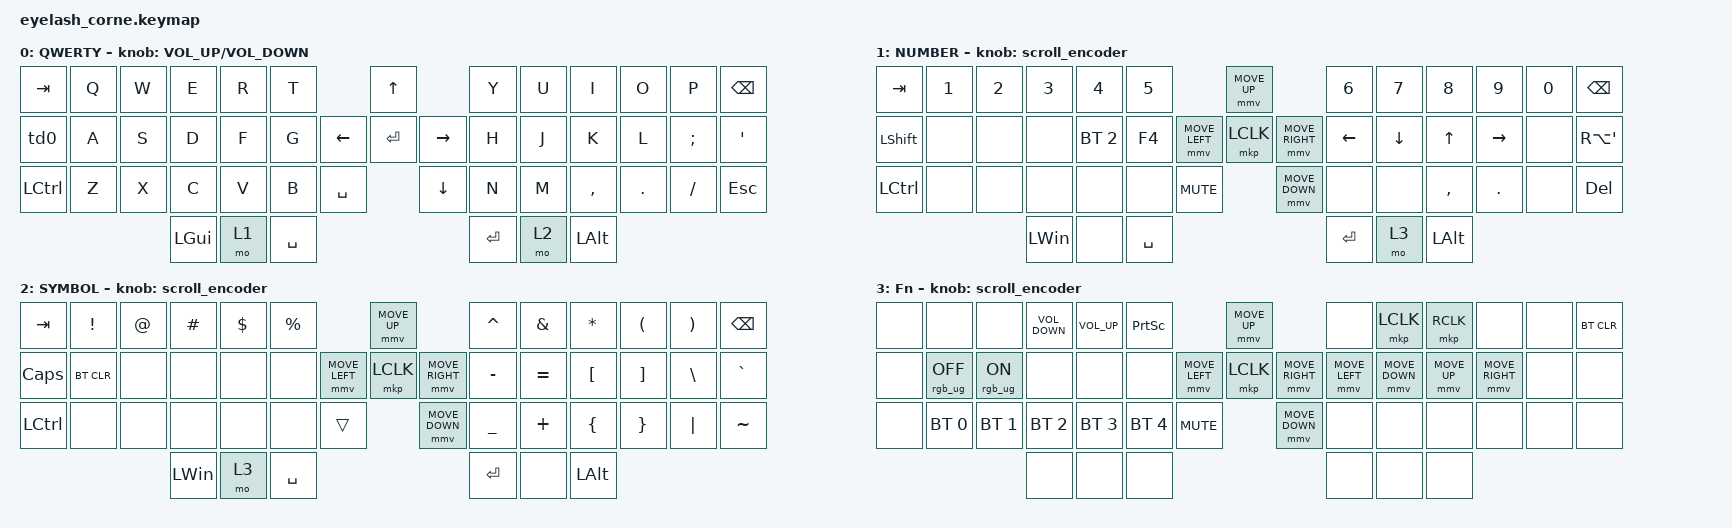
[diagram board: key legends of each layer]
#define ZMK_POINTING_DEFAULT_MOVE_VAL 1200  // 600
#define ZMK_POINTING_DEFAULT_SCRL_VAL 25   // 10

#include <input/processors.dtsi>
#include <zephyr/dt-bindings/input/input-event-codes.h>
#include <behaviors.dtsi>
#include <dt-bindings/zmk/bt.h>
#include <dt-bindings/zmk/keys.h>
#include <dt-bindings/zmk/pointing.h>
#include <dt-bindings/zmk/rgb.h>

&mmv_input_listener { input-processors = <&zip_xy_scaler 2 1>; };

&msc_input_listener { input-processors = <&zip_scroll_scaler 2 1>; };

&msc {
    acceleration-exponent = <1>;      // 0
    time-to-max-speed-ms = <100>;       // 300
    delay-ms = <0>;                   // 0
};

&mmv {
    time-to-max-speed-ms = <500>;
    acceleration-exponent = <1>;
    trigger-period-ms = <16>;
};

&soft_off { hold-time-ms = <2000>; };

/ {
    behaviors {
        td0: td0 {
            compatible = "zmk,behavior-tap-dance";
            display-name = "Shift/Caps Lock Tap Dance";
            #binding-cells = <0>;
            bindings = <&kp LEFT_SHIFT>, <&kp CAPS>;
        };
    };

    rgb_encoder: rgb_encoder {
        compatible = "zmk,behavior-sensor-rotate";
        #sensor-binding-cells = <0>;
        bindings = <&rgb_ug RGB_BRI>, <&rgb_ug RGB_BRD>;
    };

    scroll_encoder: scroll_encoder {
        compatible = "zmk,behavior-sensor-rotate";
        #sensor-binding-cells = <0>;
        bindings = <&msc SCRL_DOWN>, <&msc SCRL_UP>;

        tap-ms = <100>;
    };

    combos {
        compatible = "zmk,combos";

        softoff {
            bindings = <&soft_off>;
            key-positions = <1 15 29>;
        };
    };

    keymap {
        compatible = "zmk,keymap";

        default_layer {
            display-name = "QWERTY";
            bindings = <
&kp TAB    &kp Q  &kp W  &kp E     &kp R  &kp T                             &kp UP                &kp Y      &kp U  &kp I         &kp O    &kp P     &kp BSPC
&td0       &kp A  &kp S  &kp D     &kp F  &kp G                   &kp LEFT  &kp ENTER  &kp RIGHT  &kp H      &kp J  &kp K         &kp L    &kp SEMI  &kp SINGLE_QUOTE
&kp LCTRL  &kp Z  &kp X  &kp C     &kp V  &kp B      &kp SPACE              &kp DOWN              &kp N      &kp M  &kp COMMA     &kp DOT  &kp FSLH  &kp ESC
                         &kp LGUI  &mo 1  &kp SPACE                                               &kp ENTER  &mo 2  &kp LEFT_ALT
            >;

            sensor-bindings = <&inc_dec_kp C_VOLUME_UP C_VOLUME_DOWN>;
        };

        lower_layer {
            display-name = "NUMBER";
            bindings = <
&kp TAB           &kp N1  &kp N2  &kp N3        &kp N4        &kp N5                                   &mmv MOVE_UP                     &kp N6     &kp N7    &kp N8        &kp N9      &kp N0  &kp BSPC
&kp LEFT_SHIFT    &none   &none   &none         &bt BT_SEL 2  &kp F4                   &mmv MOVE_LEFT  &mkp LCLK       &mmv MOVE_RIGHT  &kp LEFT   &kp DOWN  &kp UP        &kp RIGHT   &none   &kp RA(SINGLE_QUOTE)
&kp LEFT_CONTROL  &none   &none   &none         &none         &none      &kp C_MUTE                    &mmv MOVE_DOWN                   &none      &none     &kp COMMA     &kp PERIOD  &none   &kp DEL
                                  &kp LEFT_WIN  &none         &kp SPACE                                                                 &kp ENTER  &mo 3     &kp LEFT_ALT
            >;

            sensor-bindings = <&scroll_encoder>;
        };

        raise_layer {
            display-name = "SYMBOL";
            bindings = <
&kp TAB           &kp EXCL    &kp AT  &kp HASH      &kp DLLR  &kp PRCNT                            &mmv MOVE_UP                     &kp CARET  &kp AMPS   &kp ASTRK     &kp LPAR  &kp RPAR  &kp BSPC
&kp CLCK          &bt BT_CLR  &none   &none         &none     &none                &mmv MOVE_LEFT  &mkp LCLK       &mmv MOVE_RIGHT  &kp MINUS  &kp EQUAL  &kp LBKT      &kp RBKT  &kp BSLH  &kp GRAVE
&kp LEFT_CONTROL  &none       &none   &none         &none     &none      &trans                    &mmv MOVE_DOWN                   &kp UNDER  &kp PLUS   &kp LBRC      &kp RBRC  &kp PIPE  &kp TILDE
                                      &kp LEFT_WIN  &mo 3     &kp SPACE                                                             &kp RET    &none      &kp LEFT_ALT
            >;

            sensor-bindings = <&scroll_encoder>;
        };

        layer_3 {
            display-name = "Fn";
            bindings = <
&none  &none            &none           &kp C_VOLUME_DOWN  &kp C_VOLUME_UP  &kp PRINTSCREEN                                &mmv MOVE_UP                     &none           &mkp LCLK       &mkp RCLK     &none            &none  &bt BT_CLR
&none  &rgb_ug RGB_OFF  &rgb_ug RGB_ON  &none              &none            &none                          &mmv MOVE_LEFT  &mkp LCLK       &mmv MOVE_RIGHT  &mmv MOVE_LEFT  &mmv MOVE_DOWN  &mmv MOVE_UP  &mmv MOVE_RIGHT  &none  &none
&none  &bt BT_SEL 0     &bt BT_SEL 1    &bt BT_SEL 2       &bt BT_SEL 3     &bt BT_SEL 4     &kp C_MUTE                    &mmv MOVE_DOWN                   &none           &none           &none         &none            &none  &none
                                        &none              &none            &none                                                                           &none           &none           &none
            >;

            sensor-bindings = <&scroll_encoder>;
        };
    };
};
